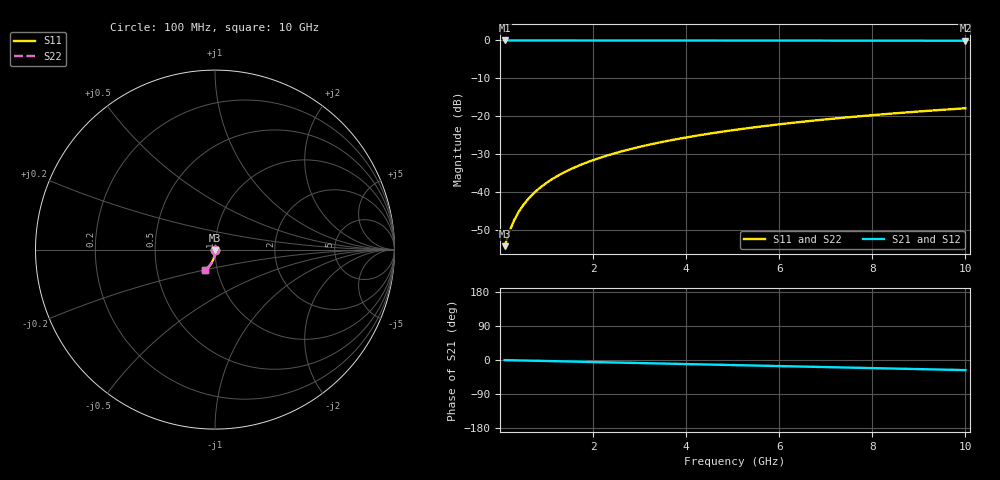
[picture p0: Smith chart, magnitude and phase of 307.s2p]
# Hz S RI R 50.00
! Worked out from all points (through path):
!   100 points, 100 MHz to 10 GHz, reference 50 ohm
!   highest |S21| = -0.01 dB at 100 MHz (marker M1); lowest = -0.1 dB at 10 GHz (marker M2)
!   group delay of S21, straight-line fit = 7.41 ps
!   lowest |S11| = -54.2 dB at 100 MHz (marker M3), VSWR 1.00, Z = 50.1 - j0.134 ohm
!   |S11| at or under -10 dB: start of sweep to end of sweep
!   |S22| runs from -54.2 to -17.9 dB; largest |S21 - S12| = 0
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1e8  0.00144 -0.00133  0.9985 -0.00466  0.9985 -0.00466  0.00144 -0.00133
2e8  0.00142 -0.00267  0.9985 -0.00932  0.9985 -0.00932  0.00142 -0.00267
3e8  0.0014 -0.004  0.9984 -0.014  0.9984 -0.014  0.0014 -0.004
4e8  0.00136 -0.00533  0.9983 -0.0186  0.9983 -0.0186  0.00136 -0.00533
5e8  0.0013 -0.00667  0.9982 -0.0233  0.9982 -0.0233  0.0013 -0.00667
6e8  0.00124 -0.008  0.9981 -0.0279  0.9981 -0.0279  0.00124 -0.008
7e8  0.00116 -0.00933  0.9979 -0.0326  0.9979 -0.0326  0.00116 -0.00933
9e8  0.00096 -0.012  0.9975 -0.0419  0.9975 -0.0419  0.00096 -0.012
1e9  0.000843 -0.0133  0.9973 -0.0466  0.9973 -0.0466  0.000843 -0.0133
1.2e9  0.00057 -0.016  0.9968 -0.0559  0.9968 -0.0559  0.00057 -0.016
1.5e9  6.85e-05 -0.0199  0.9958 -0.0698  0.9958 -0.0698  6.85e-05 -0.0199
1.8e9  -0.000545 -0.0239  0.9946 -0.0837  0.9946 -0.0837  -0.000545 -0.0239
2.1e9  -0.00127 -0.0278  0.9932 -0.0976  0.9932 -0.0976  -0.00127 -0.0278
2.5e9  -0.00241 -0.0331  0.9911 -0.1161  0.9911 -0.1161  -0.00241 -0.0331
2.9e9  -0.00374 -0.0382  0.9885 -0.1346  0.9885 -0.1346  -0.00374 -0.0382
3.4e9  -0.00567 -0.0446  0.9848 -0.1576  0.9848 -0.1576  -0.00567 -0.0446
4.2e9  -0.00937 -0.0546  0.9777 -0.1941  0.9777 -0.1941  -0.00937 -0.0546
5.1e9  -0.0144 -0.0655  0.9679 -0.2347  0.9679 -0.2347  -0.0144 -0.0655
5.9e9  -0.0197 -0.0748  0.9578 -0.2704  0.9578 -0.2704  -0.0197 -0.0748
6.7e9  -0.0256 -0.0837  0.9462 -0.3056  0.9462 -0.3056  -0.0256 -0.0837
8.4e9  -0.0402 -0.101  0.9171 -0.3786  0.9171 -0.3786  -0.0402 -0.101
1e10  -0.0562 -0.1149  0.8844 -0.4444  0.8844 -0.4444  -0.0562 -0.1149
